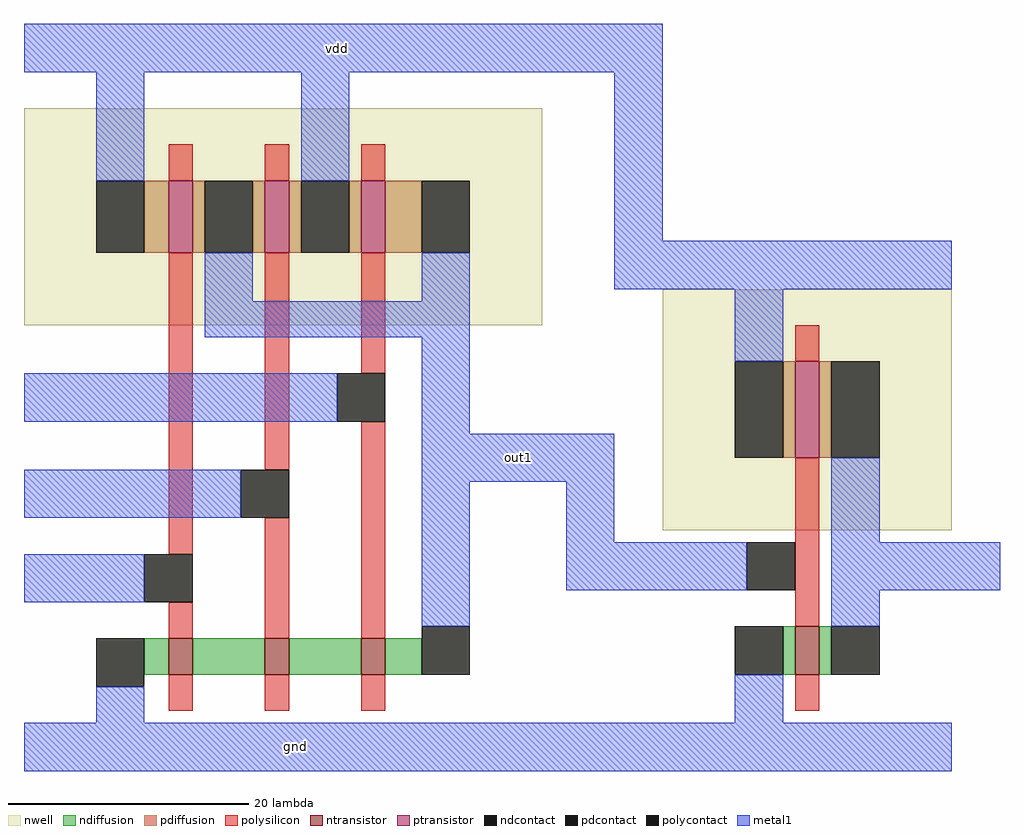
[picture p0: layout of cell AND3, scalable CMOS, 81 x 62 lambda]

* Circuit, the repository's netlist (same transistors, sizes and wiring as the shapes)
* SPICE3 file created from AND3.ext - technology: scmos

.include TSMC_180nm.txt

vdd vdd gnd 2.0V

.option scale=0.09u

Vin1 A gnd pulse(0 2.0 0 0.01p 0.01p 10n 20n)
Vin2 B gnd pulse(0 2.0 0 0.01p 0.01p 20n 40n)
Vin3 C gnd pulse(0 2.0 0 0.01p 0.01p 40n 80n)

M1000 outout OUT vdd NOT_0/w_0_0# CMOSP w=8 l=2
+  ad=40 pd=26 as=112 ps=74
M1001 outout OUT gnd gnd CMOSN w=4 l=2
+  ad=20 pd=18 as=42 ps=38
M1002 OUT A vdd w_n32_7# CMOSP w=6 l=2
+  ad=78 pd=50 as=0 ps=0
M1003 vdd B OUT w_n32_7# CMOSP w=6 l=2
+  ad=0 pd=0 as=0 ps=0
M1004 a_n10_n22# B a_n18_n22# gnd CMOSN w=3 l=2
+  ad=18 pd=18 as=18 ps=18
M1005 OUT A a_n10_n22# gnd CMOSN w=3 l=2
+  ad=25 pd=22 as=0 ps=0
M1006 a_n18_n22# C gnd gnd CMOSN w=3 l=2
+  ad=0 pd=0 as=0 ps=0
M1007 OUT C vdd w_n32_7# CMOSP w=6 l=2
+  ad=0 pd=0 as=0 ps=0

.control
tran 1n 160n
plot v(A) 
plot v(B)
plot v(C)
plot v(outout)
.endc
.end

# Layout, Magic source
magic
tech scmos
<< nwell >>
rect -32 7 11 25
<< ntransistor >>
rect -20 -22 -18 -19
rect -12 -22 -10 -19
rect -4 -22 -2 -19
<< ptransistor >>
rect -20 13 -18 19
rect -12 13 -10 19
rect -4 13 -2 19
<< ndiffusion >>
rect -22 -22 -20 -19
rect -18 -22 -12 -19
rect -10 -22 -4 -19
rect -2 -22 1 -19
<< pdiffusion >>
rect -22 13 -20 19
rect -18 13 -17 19
rect -13 13 -12 19
rect -10 13 -9 19
rect -5 13 -4 19
rect -2 13 1 19
<< ndcontact >>
rect -26 -23 -22 -19
rect 1 -22 5 -18
<< pdcontact >>
rect -26 13 -22 19
rect -17 13 -13 19
rect -9 13 -5 19
rect 1 13 5 19
<< polysilicon >>
rect -20 19 -18 22
rect -12 19 -10 22
rect -4 19 -2 22
rect -20 -12 -18 13
rect -12 -5 -10 13
rect -4 3 -2 13
rect -20 -19 -18 -16
rect -12 -19 -10 -9
rect -4 -19 -2 -1
rect -20 -25 -18 -22
rect -12 -25 -10 -22
rect -4 -25 -2 -22
<< polycontact >>
rect -6 -1 -2 3
rect -14 -9 -10 -5
rect -22 -16 -18 -12
<< metal1 >>
rect -32 28 21 32
rect -26 19 -22 28
rect -9 19 -5 28
rect -17 9 -13 13
rect 1 9 5 13
rect 17 10 21 28
rect -17 6 5 9
rect -32 -1 -6 3
rect 1 -2 5 6
rect -32 -9 -14 -5
rect 1 -6 17 -2
rect -32 -16 -22 -12
rect 1 -18 5 -6
rect 13 -15 17 -6
rect -26 -26 -22 -23
rect -32 -30 21 -26
use NOT  NOT_0
transform 1 0 21 0 1 -10
box -4 -20 28 24
<< labels >>
rlabel metal1 -12 -30 -7 -26 1 gnd
rlabel metal1 9 -4 9 -4 1 out1
rlabel metal1 -6 30 -6 30 5 vdd
<< end >>

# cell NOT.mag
magic
tech scmos
<< nwell >>
rect 0 0 24 20
<< ntransistor >>
rect 11 -12 13 -8
<< ptransistor >>
rect 11 6 13 14
<< ndiffusion >>
rect 10 -12 11 -8
rect 13 -12 14 -8
<< pdiffusion >>
rect 10 6 11 14
rect 13 6 14 14
<< ndcontact >>
rect 6 -12 10 -8
rect 14 -12 18 -8
<< pdcontact >>
rect 6 6 10 14
rect 14 6 18 14
<< polysilicon >>
rect 11 14 13 17
rect 11 -8 13 6
rect 11 -15 13 -12
<< polycontact >>
rect 7 -5 11 -1
<< metal1 >>
rect 0 20 24 24
rect 6 14 10 20
rect 14 -1 18 6
rect -4 -5 7 -1
rect 14 -5 28 -1
rect 14 -8 18 -5
rect 6 -16 10 -12
rect 0 -20 24 -16
<< labels >>
rlabel metal1 0 20 24 24 5 vdd
rlabel metal1 0 -20 24 -16 1 gnd
<< end >>
